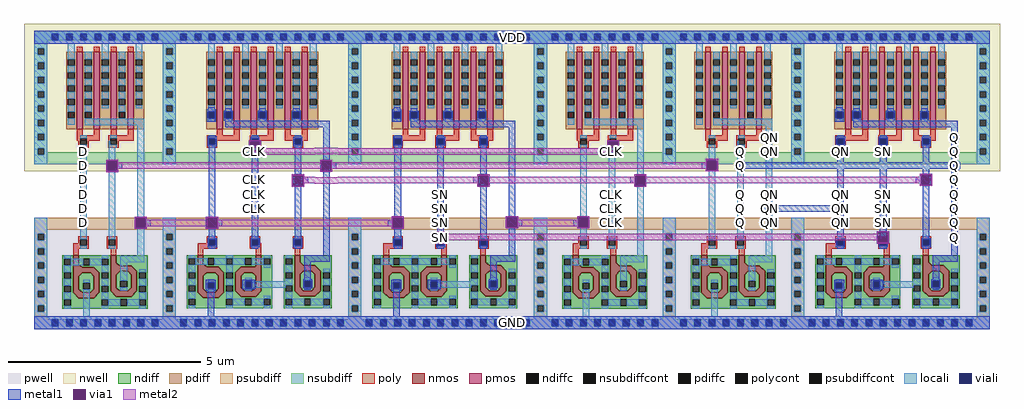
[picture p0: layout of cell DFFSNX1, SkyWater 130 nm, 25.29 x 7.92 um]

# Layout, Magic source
magic
tech sky130A
magscale 1 2
<< nwell >>
rect 57 1463 91 1497
<< pwell >>
rect 57 -17 91 17
<< locali >>
rect 3757 945 3791 979
rect 4719 945 4753 979
rect 205 871 239 905
rect 1093 871 1127 905
rect 2943 871 2977 905
rect 3609 871 3643 905
rect 3757 871 3791 905
rect 4127 871 4161 905
rect 4349 871 4383 905
rect 4719 871 4753 905
rect 205 797 239 831
rect 3609 797 3643 831
rect 4719 797 4753 831
rect 205 723 239 757
rect 1093 723 1127 757
rect 4719 723 4753 757
rect 205 649 239 683
rect 1093 649 1127 683
rect 2055 649 2089 683
rect 2943 649 2977 683
rect 3609 649 3643 683
rect 3757 649 3791 683
rect 4127 649 4161 683
rect 4349 649 4383 683
rect 4719 649 4753 683
rect 205 575 239 609
rect 1093 575 1127 609
rect 2055 575 2089 609
rect 2943 575 2977 609
rect 3609 575 3643 609
rect 3757 575 3791 609
rect 4127 575 4161 609
rect 4349 575 4383 609
rect 4719 575 4753 609
rect 205 501 239 535
rect 2055 501 2089 535
rect 2943 501 2977 535
rect 3609 501 3643 535
rect 3757 501 3791 535
rect 4127 501 4161 535
rect 4349 501 4383 535
rect 4719 501 4753 535
rect 2055 427 2089 461
rect 4719 427 4753 461
<< metal1 >>
rect -34 1446 4918 1514
rect 3645 797 4701 831
rect 3793 575 4101 609
rect -34 -34 4918 34
use li1_M1_contact  li1_M1_contact_11 pcells
transform 1 0 4736 0 1 814
box -53 -33 29 33
use li1_M1_contact  li1_M1_contact_2
transform -1 0 3626 0 -1 814
box -53 -33 29 33
use dffsnx1_pcell  dffsnx1_pcell_0 pcells
transform 1 0 0 0 1 0
box -87 -34 4971 1550
use li1_M1_contact  li1_M1_contact_1
transform -1 0 3774 0 -1 592
box -53 -33 29 33
use li1_M1_contact  li1_M1_contact_0
transform 1 0 4144 0 1 592
box -53 -33 29 33
<< labels >>
rlabel locali 4719 649 4753 683 1 Q
port 1 nsew signal output
rlabel locali 4719 723 4753 757 1 Q
port 1 nsew signal output
rlabel locali 4719 797 4753 831 1 Q
port 1 nsew signal output
rlabel locali 4719 871 4753 905 1 Q
port 1 nsew signal output
rlabel locali 4719 945 4753 979 1 Q
port 1 nsew signal output
rlabel locali 4719 575 4753 609 1 Q
port 1 nsew signal output
rlabel locali 4719 501 4753 535 1 Q
port 1 nsew signal output
rlabel locali 4719 427 4753 461 1 Q
port 1 nsew signal output
rlabel locali 3609 871 3643 905 1 Q
port 1 nsew signal output
rlabel locali 3609 797 3643 831 1 Q
port 1 nsew signal output
rlabel locali 3609 649 3643 683 1 Q
port 1 nsew signal output
rlabel locali 3609 575 3643 609 1 Q
port 1 nsew signal output
rlabel locali 3609 501 3643 535 1 Q
port 1 nsew signal output
rlabel locali 4127 575 4161 609 1 QN
port 2 nsew signal output
rlabel locali 4127 501 4161 535 1 QN
port 2 nsew signal output
rlabel locali 4127 871 4161 905 1 QN
port 2 nsew signal output
rlabel locali 3757 501 3791 535 1 QN
port 2 nsew signal output
rlabel locali 3757 575 3791 609 1 QN
port 2 nsew signal output
rlabel locali 3757 871 3791 905 1 QN
port 2 nsew signal output
rlabel locali 3757 945 3791 979 1 QN
port 2 nsew signal output
rlabel locali 3757 649 3791 683 1 QN
port 2 nsew signal output
rlabel locali 4127 649 4161 683 1 QN
port 2 nsew signal output
rlabel locali 205 723 239 757 1 D
port 3 nsew signal input
rlabel locali 205 797 239 831 1 D
port 3 nsew signal input
rlabel locali 205 871 239 905 1 D
port 3 nsew signal input
rlabel locali 205 649 239 683 1 D
port 3 nsew signal input
rlabel locali 205 575 239 609 1 D
port 3 nsew signal input
rlabel locali 205 501 239 535 1 D
port 3 nsew signal input
rlabel locali 1093 871 1127 905 1 CLK
port 4 nsew signal input
rlabel locali 1093 723 1127 757 1 CLK
port 4 nsew signal input
rlabel locali 1093 649 1127 683 1 CLK
port 4 nsew signal input
rlabel locali 1093 575 1127 609 1 CLK
port 4 nsew signal input
rlabel locali 2943 649 2977 683 1 CLK
port 4 nsew signal input
rlabel locali 2943 871 2977 905 1 CLK
port 4 nsew signal input
rlabel locali 2943 575 2977 609 1 CLK
port 4 nsew signal input
rlabel locali 2943 501 2977 535 1 CLK
port 4 nsew signal input
rlabel locali 2055 427 2089 461 1 SN
port 5 nsew signal input
rlabel locali 2055 501 2089 535 1 SN
port 5 nsew signal input
rlabel locali 2055 575 2089 609 1 SN
port 5 nsew signal input
rlabel locali 2055 649 2089 683 1 SN
port 5 nsew signal input
rlabel locali 4349 501 4383 535 1 SN
port 5 nsew signal input
rlabel locali 4349 575 4383 609 1 SN
port 5 nsew signal input
rlabel locali 4349 871 4383 905 1 SN
port 5 nsew signal input
rlabel locali 4349 649 4383 683 1 SN
port 5 nsew signal input
rlabel metal1 -34 1446 4918 1514 1 VDD
port 6 nsew power bidirectional abutment
rlabel metal1 -34 -34 4918 34 1 GND
port 7 nsew ground bidirectional abutment
<< properties >>
string LEFclass CORE
string LEFsite unitrh
string FIXED_BBOX 0 0 4884 1480
string LEFsymmetry X Y R90
<< end >>

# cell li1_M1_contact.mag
magic
tech sky130A
magscale 1 2
<< locali >>
rect -17 17 17 33
rect -17 -33 17 -17
<< viali >>
rect -17 -17 17 17
<< metal1 >>
rect -23 17 23 23
rect -53 -17 -17 17
rect 17 -17 29 17
rect -23 -23 23 -17
<< end >>

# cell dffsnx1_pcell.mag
magic
tech sky130A
magscale 1 2
<< metal1 >>
rect 1078 941 1142 947
rect 1078 889 1084 941
rect 1136 889 1142 941
rect 1078 883 1142 889
rect 2935 940 2999 946
rect 2935 888 2941 940
rect 2993 888 2999 940
rect 2935 882 2999 888
rect 338 839 402 845
rect 338 787 344 839
rect 396 787 402 839
rect 338 781 402 787
rect 1447 840 1511 846
rect 1447 788 1453 840
rect 1505 788 1511 840
rect 1447 782 1511 788
rect 3446 843 3510 849
rect 3446 791 3452 843
rect 3504 791 3510 843
rect 3446 785 3510 791
rect 1301 763 1365 769
rect 1301 711 1307 763
rect 1359 711 1365 763
rect 1301 705 1365 711
rect 2262 763 2326 769
rect 2262 711 2268 763
rect 2320 711 2326 763
rect 2262 705 2326 711
rect 3075 763 3139 769
rect 3075 711 3081 763
rect 3133 711 3139 763
rect 3075 705 3139 711
rect 4556 767 4620 773
rect 4556 715 4562 767
rect 4614 715 4620 767
rect 4556 709 4620 715
rect 486 544 550 550
rect 486 492 492 544
rect 544 492 550 544
rect 486 486 550 492
rect 856 544 920 550
rect 856 492 862 544
rect 914 492 920 544
rect 856 486 920 492
rect 1818 545 1882 551
rect 1818 493 1824 545
rect 1876 493 1882 545
rect 1818 487 1882 493
rect 2410 547 2474 553
rect 2410 495 2416 547
rect 2468 495 2474 547
rect 2410 489 2474 495
rect 2779 547 2843 553
rect 2779 495 2785 547
rect 2837 495 2843 547
rect 2779 489 2843 495
rect 2040 468 2104 474
rect 2040 416 2046 468
rect 2098 416 2104 468
rect 2040 410 2104 416
rect 4332 468 4396 474
rect 4332 416 4338 468
rect 4390 416 4396 468
rect 4332 410 4396 416
<< via1 >>
rect 1084 889 1136 941
rect 2941 888 2993 940
rect 344 787 396 839
rect 1453 788 1505 840
rect 3452 791 3504 843
rect 1307 711 1359 763
rect 2268 711 2320 763
rect 3081 711 3133 763
rect 4562 715 4614 767
rect 492 492 544 544
rect 862 492 914 544
rect 1824 493 1876 545
rect 2416 495 2468 547
rect 2785 495 2837 547
rect 2046 416 2098 468
rect 4338 416 4390 468
<< metal2 >>
rect 1078 941 1142 947
rect 1078 889 1084 941
rect 1136 905 1142 941
rect 2935 940 2999 946
rect 1419 905 1539 908
rect 2935 905 2941 940
rect 1136 889 2941 905
rect 1078 888 2941 889
rect 2993 888 2999 940
rect 1078 883 2999 888
rect 1093 882 2999 883
rect 1093 874 2981 882
rect 1093 871 1419 874
rect 1539 871 2981 874
rect 338 839 402 845
rect 338 787 344 839
rect 396 831 402 839
rect 1447 840 1511 846
rect 1447 831 1453 840
rect 396 797 1453 831
rect 396 787 402 797
rect 338 781 402 787
rect 1447 788 1453 797
rect 1505 831 1511 840
rect 3446 843 3510 849
rect 3446 831 3452 843
rect 1505 797 3452 831
rect 1505 788 1511 797
rect 1447 782 1511 788
rect 3446 791 3452 797
rect 3504 791 3510 843
rect 3446 785 3510 791
rect 1301 763 1365 769
rect 1301 711 1307 763
rect 1359 757 1365 763
rect 2262 763 2326 769
rect 2262 757 2268 763
rect 1359 754 1419 757
rect 1539 754 2268 757
rect 1359 723 2268 754
rect 1359 711 1365 723
rect 1419 720 1539 723
rect 1301 705 1365 711
rect 2262 711 2268 723
rect 2320 757 2326 763
rect 3075 763 3139 769
rect 3075 757 3081 763
rect 2320 723 3081 757
rect 2320 711 2326 723
rect 2262 705 2326 711
rect 3075 711 3081 723
rect 3133 757 3139 763
rect 4556 767 4620 773
rect 4556 757 4562 767
rect 3133 723 4562 757
rect 3133 711 3139 723
rect 3075 705 3139 711
rect 4556 715 4562 723
rect 4614 715 4620 767
rect 4556 709 4620 715
rect 486 544 550 550
rect 486 492 492 544
rect 544 535 550 544
rect 856 544 920 550
rect 856 535 862 544
rect 544 501 862 535
rect 544 492 550 501
rect 486 486 550 492
rect 856 492 862 501
rect 914 535 920 544
rect 1818 545 1882 551
rect 1818 535 1824 545
rect 914 501 1824 535
rect 914 492 920 501
rect 856 486 920 492
rect 1818 493 1824 501
rect 1876 493 1882 545
rect 1818 487 1882 493
rect 2410 547 2474 553
rect 2410 495 2416 547
rect 2468 535 2474 547
rect 2779 547 2843 553
rect 2779 535 2785 547
rect 2468 501 2785 535
rect 2468 495 2474 501
rect 2410 489 2474 495
rect 2779 495 2785 501
rect 2837 495 2843 547
rect 2779 489 2843 495
rect 2040 468 2104 474
rect 2040 416 2046 468
rect 2098 461 2104 468
rect 4332 468 4396 474
rect 4332 461 4338 468
rect 2098 427 4338 461
rect 2098 416 2104 427
rect 2040 410 2104 416
rect 4332 416 4338 427
rect 4390 416 4396 468
rect 4332 410 4396 416
use li1_M1_contact  li1_M1_contact_0
transform -1 0 1332 0 -1 740
box -53 -33 29 33
use li1_M1_contact  li1_M1_contact_1
transform -1 0 370 0 -1 814
box -53 -33 29 33
use li1_M1_contact  li1_M1_contact_3
transform -1 0 518 0 -1 518
box -53 -33 29 33
use li1_M1_contact  li1_M1_contact_11
transform 1 0 4588 0 1 740
box -53 -33 29 33
use li1_M1_contact  li1_M1_contact_12
transform 1 0 3108 0 1 740
box -53 -33 29 33
use li1_M1_contact  li1_M1_contact_13
transform 1 0 2294 0 1 740
box -53 -33 29 33
use li1_M1_contact  li1_M1_contact_14
transform 1 0 1850 0 1 518
box -53 -33 29 33
use li1_M1_contact  li1_M1_contact_15
transform -1 0 888 0 -1 517
box -53 -33 29 33
use li1_M1_contact  li1_M1_contact_16
transform -1 0 1479 0 -1 814
box -53 -33 29 33
use li1_M1_contact  li1_M1_contact_17
transform -1 0 2442 0 -1 518
box -53 -33 29 33
use li1_M1_contact  li1_M1_contact_18
transform 1 0 2812 0 1 518
box -53 -33 29 33
use li1_M1_contact  li1_M1_contact_19
transform 1 0 3478 0 1 814
box -53 -33 29 33
use nand2x1_pcell  nand2x1_pcell_0
transform 1 0 2590 0 1 0
box -87 -34 753 1550
use nand2x1_pcell  nand2x1_pcell_2
transform 1 0 3256 0 1 0
box -87 -34 753 1550
use nand2x1_pcell  nand2x1_pcell_5
transform 1 0 0 0 1 0
box -87 -34 753 1550
use nand3x1_pcell  nand3x1_pcell_0
transform 1 0 666 0 1 0
box -87 -34 1049 1550
use nand3x1_pcell  nand3x1_pcell_1
transform 1 0 3922 0 1 0
box -87 -34 1049 1550
use nand3x1_pcell  nand3x1_pcell_2
transform 1 0 1628 0 1 0
box -87 -34 1049 1550
<< end >>

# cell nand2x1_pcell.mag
magic
tech sky130A
magscale 1 2
<< nwell >>
rect 87 786 579 1550
<< pwell >>
rect 34 542 632 544
rect -31 -30 697 542
rect 34 -34 632 -30
<< pdiffc >>
rect 141 1059 175 1093
rect 229 1059 263 1093
rect 405 1059 439 1093
<< psubdiff >>
rect 34 542 632 544
rect 31 482 635 542
rect 31 480 34 482
rect 632 480 635 482
rect 31 -17 57 17
rect 91 -17 131 17
rect 165 -17 205 17
rect 239 -17 279 17
rect 313 -17 353 17
rect 387 -17 427 17
rect 461 -17 501 17
rect 535 -17 575 17
rect 609 -17 635 17
rect 31 -30 635 -17
rect 34 -34 632 -30
<< nsubdiff >>
rect 34 1497 632 1514
rect 34 1463 57 1497
rect 91 1463 131 1497
rect 165 1463 205 1497
rect 239 1463 279 1497
rect 313 1463 353 1497
rect 387 1463 427 1497
rect 461 1463 501 1497
rect 535 1463 575 1497
rect 609 1463 632 1497
rect 34 822 632 884
<< psubdiffcont >>
rect 57 -17 91 17
rect 131 -17 165 17
rect 205 -17 239 17
rect 279 -17 313 17
rect 353 -17 387 17
rect 427 -17 461 17
rect 501 -17 535 17
rect 575 -17 609 17
<< nsubdiffcont >>
rect 57 1463 91 1497
rect 131 1463 165 1497
rect 205 1463 239 1497
rect 279 1463 313 1497
rect 353 1463 387 1497
rect 427 1463 461 1497
rect 501 1463 535 1497
rect 575 1463 609 1497
<< poly >>
rect 168 375 198 413
rect 362 382 392 383
<< locali >>
rect 34 1497 632 1514
rect 34 1463 57 1497
rect 91 1463 131 1497
rect 165 1463 205 1497
rect 239 1463 279 1497
rect 313 1463 353 1497
rect 387 1463 427 1497
rect 461 1463 501 1497
rect 535 1463 575 1497
rect 609 1463 632 1497
rect 34 1446 632 1463
rect 141 1093 175 1111
rect 141 1027 175 1059
rect 229 1093 263 1111
rect 229 1057 263 1059
rect 405 1093 439 1111
rect 405 1057 439 1059
rect 229 1023 535 1057
rect 353 908 361 942
rect 205 433 239 908
rect 353 441 387 908
rect 353 433 357 441
rect 501 348 535 1023
rect 413 314 535 348
rect 413 233 447 314
rect 219 34 253 167
rect 34 32 632 34
rect 31 17 635 32
rect 31 -17 57 17
rect 91 -17 131 17
rect 165 -17 205 17
rect 239 -17 279 17
rect 313 -17 353 17
rect 387 -17 427 17
rect 461 -17 501 17
rect 535 -17 575 17
rect 609 -17 635 17
rect 31 -30 635 -17
rect 34 -34 632 -30
<< viali >>
rect 57 1463 91 1497
rect 131 1463 165 1497
rect 205 1463 239 1497
rect 279 1463 313 1497
rect 353 1463 387 1497
rect 427 1463 461 1497
rect 501 1463 535 1497
rect 575 1463 609 1497
rect 57 -17 91 17
rect 131 -17 165 17
rect 205 -17 239 17
rect 279 -17 313 17
rect 353 -17 387 17
rect 427 -17 461 17
rect 501 -17 535 17
rect 575 -17 609 17
<< metal1 >>
rect 34 1497 632 1514
rect 34 1463 57 1497
rect 91 1463 131 1497
rect 165 1463 205 1497
rect 239 1463 279 1497
rect 313 1463 353 1497
rect 387 1463 427 1497
rect 461 1463 501 1497
rect 535 1463 575 1497
rect 609 1463 632 1497
rect 34 1446 632 1463
rect 34 32 632 34
rect 31 17 635 32
rect 31 -17 57 17
rect 91 -17 131 17
rect 165 -17 205 17
rect 239 -17 279 17
rect 313 -17 353 17
rect 387 -17 427 17
rect 461 -17 501 17
rect 535 -17 575 17
rect 609 -17 635 17
rect 31 -30 635 -17
rect 34 -34 632 -30
use poly_li1_contact  poly_li1_contact_1
transform 0 1 223 -1 0 417
box -32 -28 34 26
use nmos_bottom  nmos_bottom_0
transform -1 0 360 0 1 73
box 0 0 248 302
use poly_li1_contact  poly_li1_contact_0
transform 0 1 223 -1 0 941
box -32 -28 34 26
use pmos2  pmos2_0
transform 1 0 43 0 1 1404
box 52 -461 352 42
use poly_li1_contact  poly_li1_contact_2
transform 0 -1 369 1 0 415
box -32 -28 34 26
use nmos_top_trim1  nmos_top_trim1_0
transform -1 0 554 0 1 73
box 0 0 248 309
use poly_li1_contact  poly_li1_contact_3
transform 0 1 377 -1 0 941
box -32 -28 34 26
use pmos2  pmos2_1
transform 1 0 219 0 1 1404
box 52 -461 352 42
use diff_ring_side  diff_ring_side_0
transform 1 0 666 0 1 0
box -87 -34 87 1550
use diff_ring_side  diff_ring_side_1
transform 1 0 0 0 1 0
box -87 -34 87 1550
<< end >>

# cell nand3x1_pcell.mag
magic
tech sky130A
magscale 1 2
<< nwell >>
rect 87 1099 875 1550
rect 87 1093 220 1099
rect 87 1059 205 1093
rect 229 1059 263 1093
rect 87 1056 220 1059
rect 279 1056 875 1099
rect 87 786 875 1056
<< pwell >>
rect 34 -34 928 544
<< pdiffc >>
rect 201 1059 235 1093
rect 289 1059 323 1093
rect 465 1059 499 1093
rect 641 1059 675 1093
<< psubdiff >>
rect 34 482 928 544
rect 34 -17 57 17
rect 91 -17 131 17
rect 165 -17 205 17
rect 239 -17 279 17
rect 313 -17 353 17
rect 387 -17 427 17
rect 461 -17 501 17
rect 535 -17 575 17
rect 609 -17 649 17
rect 683 -17 723 17
rect 757 -17 797 17
rect 831 -17 871 17
rect 905 -17 928 17
rect 34 -34 928 -17
<< nsubdiff >>
rect 34 1497 928 1514
rect 34 1463 57 1497
rect 91 1463 131 1497
rect 165 1463 205 1497
rect 239 1463 279 1497
rect 313 1463 353 1497
rect 387 1463 427 1497
rect 461 1463 501 1497
rect 535 1463 575 1497
rect 609 1463 649 1497
rect 683 1463 723 1497
rect 757 1463 797 1497
rect 831 1463 871 1497
rect 905 1463 928 1497
rect 34 822 928 884
<< psubdiffcont >>
rect 57 -17 91 17
rect 131 -17 165 17
rect 205 -17 239 17
rect 279 -17 313 17
rect 353 -17 387 17
rect 427 -17 461 17
rect 501 -17 535 17
rect 575 -17 609 17
rect 649 -17 683 17
rect 723 -17 757 17
rect 797 -17 831 17
rect 871 -17 905 17
<< nsubdiffcont >>
rect 57 1463 91 1497
rect 131 1463 165 1497
rect 205 1463 239 1497
rect 279 1463 313 1497
rect 353 1463 387 1497
rect 427 1463 461 1497
rect 501 1463 535 1497
rect 575 1463 609 1497
rect 649 1463 683 1497
rect 723 1463 757 1497
rect 797 1463 831 1497
rect 871 1463 905 1497
<< poly >>
rect 147 383 195 413
rect 471 383 477 413
rect 147 377 177 383
rect 447 377 477 383
<< locali >>
rect 14 1497 943 1514
rect 14 1463 57 1497
rect 91 1463 131 1497
rect 165 1463 205 1497
rect 239 1463 279 1497
rect 313 1463 353 1497
rect 387 1463 427 1497
rect 461 1463 501 1497
rect 535 1463 575 1497
rect 609 1463 649 1497
rect 683 1463 723 1497
rect 757 1463 797 1497
rect 831 1463 871 1497
rect 905 1463 943 1497
rect 14 1446 943 1463
rect 201 1093 235 1120
rect 201 1043 235 1059
rect 289 1093 323 1112
rect 289 1043 323 1059
rect 465 1093 499 1117
rect 465 1043 499 1059
rect 641 1093 675 1112
rect 641 1043 675 1059
rect 427 182 603 216
rect 34 17 930 34
rect 34 -17 57 17
rect 91 -17 131 17
rect 165 -17 205 17
rect 239 -17 279 17
rect 313 -17 353 17
rect 387 -17 427 17
rect 461 -17 501 17
rect 535 -17 575 17
rect 609 -17 649 17
rect 683 -17 723 17
rect 757 -17 797 17
rect 831 -17 871 17
rect 905 -17 930 17
rect 34 -34 930 -17
<< viali >>
rect 57 1463 91 1497
rect 131 1463 165 1497
rect 205 1463 239 1497
rect 279 1463 313 1497
rect 353 1463 387 1497
rect 427 1463 461 1497
rect 501 1463 535 1497
rect 575 1463 609 1497
rect 649 1463 683 1497
rect 723 1463 757 1497
rect 797 1463 831 1497
rect 871 1463 905 1497
rect 201 1059 235 1093
rect 289 1059 323 1093
rect 465 1059 499 1093
rect 641 1059 675 1093
rect 205 923 239 957
rect 427 923 461 957
rect 649 923 683 957
rect 205 399 239 433
rect 427 399 461 433
rect 649 399 683 433
rect 198 176 232 210
rect 393 182 427 216
rect 700 185 734 219
rect 57 -17 91 17
rect 131 -17 165 17
rect 205 -17 239 17
rect 279 -17 313 17
rect 353 -17 387 17
rect 427 -17 461 17
rect 501 -17 535 17
rect 575 -17 609 17
rect 649 -17 683 17
rect 723 -17 757 17
rect 797 -17 831 17
rect 871 -17 905 17
<< metal1 >>
rect 34 1497 928 1514
rect 34 1463 57 1497
rect 91 1463 131 1497
rect 165 1463 205 1497
rect 239 1463 279 1497
rect 313 1463 353 1497
rect 387 1463 427 1497
rect 461 1463 501 1497
rect 535 1463 575 1497
rect 609 1463 649 1497
rect 683 1463 723 1497
rect 757 1463 797 1497
rect 831 1463 871 1497
rect 905 1463 928 1497
rect 34 1446 928 1463
rect 201 1107 235 1116
rect 193 1093 241 1107
rect 289 1099 323 1111
rect 465 1099 499 1111
rect 641 1099 675 1111
rect 193 1059 201 1093
rect 235 1059 241 1093
rect 193 1043 241 1059
rect 283 1093 330 1099
rect 283 1059 289 1093
rect 323 1059 330 1093
rect 283 1048 330 1059
rect 458 1093 506 1099
rect 458 1059 465 1093
rect 499 1059 506 1093
rect 458 1048 506 1059
rect 635 1093 681 1099
rect 635 1059 641 1093
rect 675 1059 681 1093
rect 635 1048 681 1059
rect 289 1014 831 1048
rect 205 967 239 969
rect 198 957 246 967
rect 427 963 461 969
rect 649 963 683 969
rect 198 923 205 957
rect 239 923 246 957
rect 198 915 246 923
rect 421 957 467 963
rect 421 923 427 957
rect 461 923 467 957
rect 421 917 467 923
rect 643 957 689 963
rect 643 923 649 957
rect 683 923 689 957
rect 205 439 239 915
rect 427 439 461 917
rect 643 914 689 923
rect 649 439 683 914
rect 199 433 245 439
rect 199 399 205 433
rect 239 399 245 433
rect 199 391 245 399
rect 421 433 468 439
rect 421 399 427 433
rect 461 399 468 433
rect 421 391 468 399
rect 643 433 689 439
rect 643 399 649 433
rect 683 399 689 433
rect 643 391 689 399
rect 205 383 239 391
rect 427 383 461 391
rect 649 383 683 391
rect 797 350 831 1014
rect 700 316 831 350
rect 700 225 734 316
rect 189 210 241 222
rect 189 176 198 210
rect 232 176 241 210
rect 189 167 241 176
rect 378 216 445 223
rect 378 182 393 216
rect 427 182 445 216
rect 378 173 445 182
rect 694 219 740 225
rect 694 185 700 219
rect 734 185 740 219
rect 694 179 740 185
rect 700 173 734 179
rect 198 34 232 167
rect 34 17 928 34
rect 34 -17 57 17
rect 91 -17 131 17
rect 165 -17 205 17
rect 239 -17 279 17
rect 313 -17 353 17
rect 387 -17 427 17
rect 461 -17 501 17
rect 535 -17 575 17
rect 609 -17 649 17
rect 683 -17 723 17
rect 757 -17 797 17
rect 831 -17 871 17
rect 905 -17 928 17
rect 34 -34 928 -17
use diff_ring_side  diff_ring_side_0
transform 1 0 962 0 1 0
box -87 -34 87 1550
use diff_ring_side  diff_ring_side_1
transform 1 0 0 0 1 0
box -87 -34 87 1550
use nmos_bottom  nmos_bottom_0
transform -1 0 339 0 1 75
box 0 0 248 302
use nmos_side_left  nmos_side_left_0
transform 1 0 285 0 1 75
box 0 0 248 302
use nmos_top_trim1  nmos_top_trim1_0
transform -1 0 841 0 1 75
box 0 0 248 309
use pmos2  pmos2_0
transform 1 0 103 0 1 1404
box 52 -461 352 42
use pmos2  pmos2_1
transform 1 0 279 0 1 1404
box 52 -461 352 42
use pmos2  pmos2_2
transform 1 0 455 0 1 1404
box 52 -461 352 42
use poly_li1_contact  poly_li1_contact_0
transform 0 1 223 -1 0 941
box -32 -28 34 26
use poly_li1_contact  poly_li1_contact_1
transform 0 -1 221 1 0 415
box -32 -28 34 26
use poly_li1_contact  poly_li1_contact_2
transform 0 -1 443 1 0 415
box -32 -28 34 26
use poly_li1_contact  poly_li1_contact_3
transform 0 -1 443 1 0 939
box -32 -28 34 26
use poly_li1_contact  poly_li1_contact_4
transform 0 -1 665 1 0 415
box -32 -28 34 26
use poly_li1_contact  poly_li1_contact_5
transform 0 1 667 -1 0 941
box -32 -28 34 26
<< end >>

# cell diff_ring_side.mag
magic
tech sky130A
magscale 1 2
<< nwell >>
rect -87 786 87 1550
<< pwell >>
rect -34 -34 34 544
<< psubdiff >>
rect -34 461 34 544
rect -34 427 -17 461
rect 17 427 34 461
rect -34 387 34 427
rect -34 353 -17 387
rect 17 353 34 387
rect -34 313 34 353
rect -34 279 -17 313
rect 17 279 34 313
rect -34 239 34 279
rect -34 205 -17 239
rect 17 205 34 239
rect -34 165 34 205
rect -34 131 -17 165
rect 17 131 34 165
rect -34 91 34 131
rect -34 57 -17 91
rect 17 57 34 91
rect -34 -34 34 57
<< nsubdiff >>
rect -34 1423 34 1514
rect -34 1389 -17 1423
rect 17 1389 34 1423
rect -34 1349 34 1389
rect -34 1315 -17 1349
rect 17 1315 34 1349
rect -34 1275 34 1315
rect -34 1241 -17 1275
rect 17 1241 34 1275
rect -34 1201 34 1241
rect -34 1167 -17 1201
rect 17 1167 34 1201
rect -34 1127 34 1167
rect -34 1093 -17 1127
rect 17 1093 34 1127
rect -34 1053 34 1093
rect -34 1019 -17 1053
rect 17 1019 34 1053
rect -34 979 34 1019
rect -34 945 -17 979
rect 17 945 34 979
rect -34 905 34 945
rect -34 871 -17 905
rect 17 871 34 905
rect -34 822 34 871
<< psubdiffcont >>
rect -17 427 17 461
rect -17 353 17 387
rect -17 279 17 313
rect -17 205 17 239
rect -17 131 17 165
rect -17 57 17 91
<< nsubdiffcont >>
rect -17 1389 17 1423
rect -17 1315 17 1349
rect -17 1241 17 1275
rect -17 1167 17 1201
rect -17 1093 17 1127
rect -17 1019 17 1053
rect -17 945 17 979
rect -17 871 17 905
<< locali >>
rect -34 1423 34 1514
rect -34 1389 -17 1423
rect 17 1389 34 1423
rect -34 1349 34 1389
rect -34 1315 -17 1349
rect 17 1315 34 1349
rect -34 1275 34 1315
rect -34 1241 -17 1275
rect 17 1241 34 1275
rect -34 1201 34 1241
rect -34 1167 -17 1201
rect 17 1167 34 1201
rect -34 1127 34 1167
rect -34 1093 -17 1127
rect 17 1093 34 1127
rect -34 1053 34 1093
rect -34 1019 -17 1053
rect 17 1019 34 1053
rect -34 979 34 1019
rect -34 945 -17 979
rect 17 945 34 979
rect -34 905 34 945
rect -34 871 -17 905
rect 17 871 34 905
rect -34 822 34 871
rect -34 461 34 544
rect -34 427 -17 461
rect 17 427 34 461
rect -34 387 34 427
rect -34 353 -17 387
rect 17 353 34 387
rect -34 313 34 353
rect -34 279 -17 313
rect 17 279 34 313
rect -34 239 34 279
rect -34 205 -17 239
rect 17 205 34 239
rect -34 165 34 205
rect -34 131 -17 165
rect 17 131 34 165
rect -34 91 34 131
rect -34 57 -17 91
rect 17 57 34 91
rect -34 -34 34 57
<< metal1 >>
rect -34 1446 34 1514
rect -34 -34 34 34
<< end >>

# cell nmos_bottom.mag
magic
tech sky130A
magscale 1 2
<< nmos >>
tri 146 215 162 231 se
rect 162 215 192 276
tri 56 185 86 215 se
rect 86 185 192 215
rect 56 84 86 185
tri 86 169 102 185 nw
tri 146 169 162 185 ne
tri 86 84 102 100 sw
tri 146 84 162 100 se
rect 162 84 192 185
tri 56 54 86 84 ne
rect 86 54 162 84
tri 162 54 192 84 nw
<< ndiff >>
rect 0 260 162 276
rect 0 226 10 260
rect 44 226 107 260
rect 141 231 162 260
rect 141 226 146 231
rect 0 215 146 226
tri 146 215 162 231 nw
rect 192 260 248 276
rect 192 226 204 260
rect 238 226 248 260
rect 0 188 56 215
rect 0 154 10 188
rect 44 154 56 188
tri 56 185 86 215 nw
rect 192 188 248 226
rect 0 120 56 154
rect 0 86 10 120
rect 44 86 56 120
rect 0 54 56 86
tri 86 169 102 185 se
rect 102 169 146 185
tri 146 169 162 185 sw
rect 86 135 162 169
rect 86 101 107 135
rect 141 101 162 135
rect 86 100 162 101
tri 86 84 102 100 ne
rect 102 84 146 100
tri 146 84 162 100 nw
rect 192 154 204 188
rect 238 154 248 188
rect 192 120 248 154
rect 192 86 204 120
rect 238 86 248 120
tri 56 54 86 84 sw
tri 162 54 192 84 se
rect 192 54 248 86
rect 0 50 248 54
rect 0 16 10 50
rect 44 16 204 50
rect 238 16 248 50
rect 0 0 248 16
<< ndiffc >>
rect 10 226 44 260
rect 107 226 141 260
rect 204 226 238 260
rect 10 154 44 188
rect 10 86 44 120
rect 107 101 141 135
rect 204 154 238 188
rect 204 86 238 120
rect 10 16 44 50
rect 204 16 238 50
<< poly >>
rect 162 276 192 302
<< locali >>
rect 10 260 44 276
rect 204 260 238 276
rect 44 226 107 260
rect 141 226 204 260
rect 10 188 44 226
rect 10 120 44 154
rect 204 188 238 226
rect 10 50 44 86
rect 107 135 141 151
rect 107 85 141 101
rect 204 120 238 154
rect 10 0 44 16
rect 204 50 238 86
rect 204 0 238 16
<< end >>

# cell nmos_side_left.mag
magic
tech sky130
magscale 1 2
<< nmos >>
rect 162 215 192 276
tri 57 185 87 215 se
rect 87 185 192 215
rect 57 91 87 185
tri 87 169 103 185 nw
tri 146 169 162 185 ne
tri 87 91 103 107 sw
tri 146 91 162 107 se
rect 162 91 192 185
tri 57 61 87 91 ne
rect 87 61 162 91
tri 162 61 192 91 nw
<< ndiff >>
rect 0 260 162 276
rect 0 226 10 260
rect 44 226 107 260
rect 141 226 162 260
rect 0 215 162 226
rect 192 260 248 276
rect 192 226 204 260
rect 238 226 248 260
rect 0 188 57 215
rect 0 154 10 188
rect 44 154 57 188
tri 57 185 87 215 nw
rect 0 120 57 154
rect 0 86 10 120
rect 44 86 57 120
tri 87 169 103 185 se
rect 103 169 146 185
tri 146 169 162 185 sw
rect 87 141 162 169
rect 87 107 108 141
rect 142 107 162 141
tri 87 91 103 107 ne
rect 103 91 146 107
tri 146 91 162 107 nw
rect 0 61 57 86
tri 57 61 87 91 sw
tri 162 61 192 91 se
rect 192 61 248 226
rect 0 50 248 61
rect 0 16 10 50
rect 44 16 107 50
rect 141 16 204 50
rect 238 16 248 50
rect 0 0 248 16
<< ndiffc >>
rect 10 226 44 260
rect 107 226 141 260
rect 204 226 238 260
rect 10 154 44 188
rect 10 86 44 120
rect 108 107 142 141
rect 10 16 44 50
rect 107 16 141 50
rect 204 16 238 50
<< poly >>
rect 162 276 192 302
<< locali >>
rect 10 260 44 276
rect 204 260 238 276
rect 44 226 107 260
rect 141 226 204 260
rect 10 188 44 226
rect 204 210 238 226
rect 10 120 44 154
rect 108 141 142 157
rect 108 91 142 107
rect 10 50 44 86
rect 204 50 238 66
rect 44 16 107 50
rect 141 16 204 50
rect 10 0 44 16
rect 204 0 238 16
<< end >>

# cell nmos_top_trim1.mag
magic
tech sky130
magscale 1 2
<< nmos >>
tri 146 223 162 239 se
rect 162 223 192 276
tri 56 193 86 223 se
rect 86 193 192 223
rect 56 92 86 193
tri 86 177 102 193 nw
tri 146 177 162 193 ne
tri 86 92 102 108 sw
tri 146 92 162 108 se
rect 162 92 192 193
tri 56 62 86 92 ne
rect 86 62 162 92
tri 162 62 192 92 nw
<< ndiff >>
rect 0 239 162 276
rect 0 223 146 239
tri 146 223 162 239 nw
rect 192 260 248 276
rect 192 226 204 260
rect 238 226 248 260
rect 0 188 56 223
tri 56 193 86 223 nw
rect 0 154 10 188
rect 44 154 56 188
rect 0 120 56 154
rect 0 86 10 120
rect 44 86 56 120
tri 86 177 102 193 se
rect 102 177 146 193
tri 146 177 162 193 sw
rect 86 144 162 177
rect 86 110 107 144
rect 141 110 162 144
rect 86 108 162 110
tri 86 92 102 108 ne
rect 102 92 146 108
tri 146 92 162 108 nw
rect 192 188 248 226
rect 192 154 204 188
rect 238 154 248 188
rect 192 120 248 154
rect 0 62 56 86
tri 56 62 86 92 sw
tri 162 62 192 92 se
rect 192 86 204 120
rect 238 86 248 120
rect 192 62 248 86
rect 0 50 248 62
rect 0 16 10 50
rect 44 16 107 50
rect 141 16 204 50
rect 238 16 248 50
rect 0 0 248 16
<< ndiffc >>
rect 204 226 238 260
rect 10 154 44 188
rect 10 86 44 120
rect 107 110 141 144
rect 204 154 238 188
rect 204 86 238 120
rect 10 16 44 50
rect 107 16 141 50
rect 204 16 238 50
<< poly >>
rect 162 276 192 309
<< locali >>
rect 204 260 238 276
rect 10 188 44 204
rect 204 188 238 226
rect 10 120 44 154
rect 107 144 141 161
rect 107 94 141 110
rect 204 120 238 154
rect 10 50 44 86
rect 204 50 238 86
rect 44 16 107 50
rect 141 16 204 50
rect 10 0 44 16
rect 204 0 238 16
<< end >>

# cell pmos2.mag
magic
tech sky130A
magscale 1 2
<< nwell >>
rect 52 -436 352 36
<< pmos >>
rect 144 -400 174 0
rect 232 -400 262 0
<< pdiff >>
rect 88 -38 144 0
rect 88 -72 98 -38
rect 132 -72 144 -38
rect 88 -106 144 -72
rect 88 -140 98 -106
rect 132 -140 144 -106
rect 88 -174 144 -140
rect 88 -208 98 -174
rect 132 -208 144 -174
rect 88 -242 144 -208
rect 88 -276 98 -242
rect 132 -276 144 -242
rect 88 -400 144 -276
rect 174 -38 232 0
rect 174 -72 186 -38
rect 220 -72 232 -38
rect 174 -106 232 -72
rect 174 -140 186 -106
rect 220 -140 232 -106
rect 174 -174 232 -140
rect 174 -208 186 -174
rect 220 -208 232 -174
rect 174 -242 232 -208
rect 174 -276 186 -242
rect 220 -276 232 -242
rect 174 -400 232 -276
rect 262 -38 316 0
rect 262 -72 274 -38
rect 308 -72 316 -38
rect 262 -106 316 -72
rect 262 -140 274 -106
rect 308 -140 316 -106
rect 262 -174 316 -140
rect 262 -208 274 -174
rect 308 -208 316 -174
rect 262 -242 316 -208
rect 262 -276 274 -242
rect 308 -276 316 -242
rect 262 -400 316 -276
<< pdiffc >>
rect 98 -72 132 -38
rect 98 -140 132 -106
rect 98 -208 132 -174
rect 98 -276 132 -242
rect 186 -72 220 -38
rect 186 -140 220 -106
rect 186 -208 220 -174
rect 186 -276 220 -242
rect 274 -72 308 -38
rect 274 -140 308 -106
rect 274 -208 308 -174
rect 274 -276 308 -242
<< poly >>
rect 144 0 174 26
rect 232 0 262 26
rect 144 -431 174 -400
rect 232 -431 262 -400
rect 144 -461 262 -431
<< locali >>
rect 98 -38 132 42
rect 98 -106 132 -72
rect 98 -174 132 -140
rect 98 -242 132 -208
rect 98 -293 132 -276
rect 186 -38 220 0
rect 186 -106 220 -72
rect 186 -174 220 -140
rect 186 -242 220 -208
rect 186 -293 220 -276
rect 274 -38 308 42
rect 274 -106 308 -72
rect 274 -174 308 -140
rect 274 -242 308 -208
rect 274 -293 308 -276
<< end >>

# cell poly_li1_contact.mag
magic
tech sky130
<< poly >>
rect -16 8 17 13
rect -16 -9 -8 8
rect 9 -9 17 8
rect -16 -14 17 -9
<< polycont >>
rect -8 -9 9 8
<< locali >>
rect -16 -9 -8 8
rect 9 -9 17 8
<< end >>
